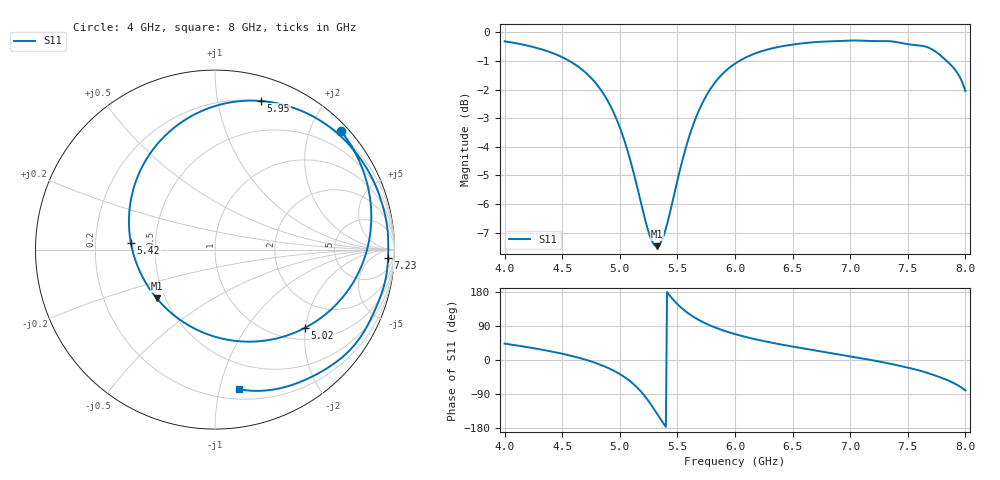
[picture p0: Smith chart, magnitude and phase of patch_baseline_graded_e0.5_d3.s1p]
! NobuRF patch_baseline_graded_e0.5_d3: port "feed", 10300 steps
# GHz S RI R 50
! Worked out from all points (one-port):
!   401 points, 4 GHz to 8 GHz, reference 50 ohm
!   lowest |S11| = -7.5 dB at 5.32 GHz (marker M1), VSWR 2.47, Z = 22.4 - j14.8 ohm
!   |S11| at or under -10 dB: nowhere
!   S11 on the Smith chart (normalised r, x): 4 GHz: 0.13, +2.52; 5.02 GHz: 1.28, -1.99; 5.42 GHz: 0.36, +0.04; 5.95 GHz: 0.20, +1.34; 7.23 GHz: 20, -27; 8 GHz: 0.28, -1.15
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4  0.7027 0.6605
4.26  0.8093 0.4806
4.5  0.8673 0.2579
4.66  0.8618 0.0689
4.79  0.8081 -0.1109
4.9  0.7044 -0.2741
5  0.5438 -0.4119
5.02  0.5026 -0.4354
5.11  0.2791 -0.507
5.18  0.0708 -0.5024
5.25  -0.1426 -0.4246
5.32  -0.3254 -0.2706
5.42  -0.4689 0.0383
5.5  -0.4648 0.296
5.6  -0.3467 0.5559
5.7  -0.1707 0.7202
5.81  0.0303 0.8084
5.95  0.2565 0.828
6  0.3261 0.819
6.23  0.5804 0.7224
6.5  0.7754 0.5518
7  0.9536 0.1637
7.23  0.9642 -0.0458
7.5  0.8952 -0.3277
7.65  0.7997 -0.5027
7.77  0.6537 -0.6418
7.89  0.441 -0.75
8  0.1339 -0.7781
